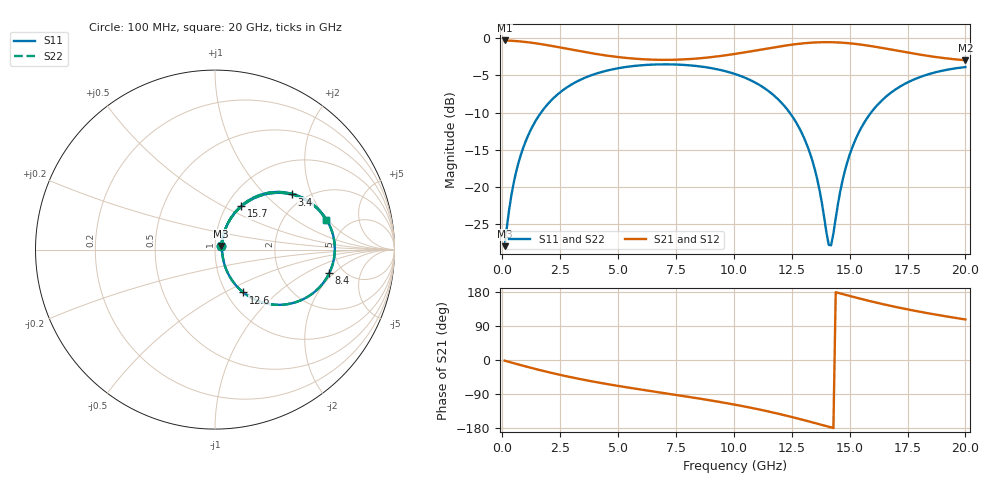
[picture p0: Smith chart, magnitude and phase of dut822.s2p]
! Touchstone file exported from HFSS 2026.1.0
!  File:  C:/ffzhzh/LocalFiles/Ansys_Project_Files/temp_train_TSV_RDL_822_1783265745_30076.aedt
!  Generated:  11:46:56 PM Jul  5, 2026
!  Design:  TSV_RDL
!  Project:  temp_train_TSV_RDL_822_1783265745_30076
! Variables:
!  h_bsmrdl = 4.45um
!  h_ox = 20um
!  h_rdl = 5um
!  h_sub = 71.24um
!  h_tmrdl = 3.67um
!  h_tsv = 71.24um
!  h_via = 3um
!  l_bsmrdl = 310.1um
!  l_sub = 4288.36um
!  l_tmrdl = 721.23um
!  m_sub = 200um
!  pitch = 44.39um
!  r_tsv = 3.7um
!  s_tmrdl = 10um
!  w_bsmrdl = 13.45um
!  w_sub = 500um
!  w_tmrdl = 10.93um
!  x_tsv_center1 = 726.695um
!  x_tsv_center2 = 1050.245um
!  x_tsv_center3 = 1782.405um
!  x_tsv_center4 = 2105.955um
!  x_tsv_center5 = 2838.115um
!  x_tsv_center6 = 3161.665um
# GHz S MA R 50.000000
! Terminal data exported
! Port[1] = TM_RDL1_1_T1
! Port[2] = TM_RDL5_1_T1
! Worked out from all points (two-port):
!   200 points, 100 MHz to 20 GHz, reference 50 ohm
!   highest |S21| = -0.30 dB at 100 MHz (marker M1); lowest = -3.0 dB at 20 GHz (marker M2)
!   |S21| within 3 dB of the highest: start of sweep to end of sweep
!   lowest |S11| = -27.9 dB at 100 MHz (marker M3), VSWR 1.08, Z = 53.6 + j2.14 ohm
!   |S11| at or under -10 dB: start of sweep to 1.672 GHz; 12.41 GHz to 15.92 GHz (3.513 GHz wide, 24.8 % of centre)
!   |S22| runs from -27.9 to -3.5 dB; largest |S21 - S12| = 1.6e-14
!   S11 on the Smith chart (normalised r, x): 100 MHz: 1.07, +0.04; 3.4 GHz: 1.72, +1.46; 8.4 GHz: 3.87, -1.76; 12.6 GHz: 1.20, -0.62; 15.7 GHz: 1.16, +0.61; 20 GHz: 3.42, +1.90
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0.1  0.0401 29.8  0.9656 -1.7  0.9656 -1.7  0.0401 29.8
! Gamma 0 0 0 0
! Port Impedance 50 0 50 0
0.5  0.1082 62.2  0.959 -8.6  0.959 -8.6  0.1082 62.2
1.1  0.2193 62.1  0.9394 -18.4  0.9394 -18.4  0.2193 62.1
2.1  0.3805 51.0  0.8894 -33.7  0.8894 -33.7  0.3805 51.0
3.4  0.528 35.6  0.8158 -50.8  0.8158 -50.8  0.528 35.6
3.5  0.5366 34.5  0.8105 -52.0  0.8105 -52.0  0.5366 34.5
5.1  0.6321 18.1  0.7439 -69.4  0.7439 -69.4  0.6322 18.1
6.8  0.6671 2.6  0.7157 -85.6  0.7157 -85.6  0.6671 2.6
8.4  0.65 -11.6  0.73 -100.7  0.73 -100.7  0.65 -11.6
10.1  0.5714 -28.2  0.7862 -118.5  0.7862 -118.5  0.5714 -28.2
11.5  0.4411 -43.9  0.8557 -135.9  0.8557 -135.9  0.4412 -43.9
12.6  0.2865 -56.5  0.9088 -151.9  0.9088 -151.9  0.2865 -56.5
13.4  0.1489 -61.3  0.9341 -164.6  0.9341 -164.6  0.1489 -61.4
13.7  0.09559 -57.0  0.9389 -169.6  0.9389 -169.6  0.09557 -57.1
14.1  0.04088 -12.3  0.9404 -176.2  0.9404 -176.2  0.04079 -12.4
14.2  0.04065 13.5  0.9399 -177.9  0.9399 -177.9  0.04053 13.4
14.8  0.1293 63.1  0.9299 172.3  0.9299 172.3  0.1292 63.1
15.2  0.1994 63.3  0.9172 165.9  0.9172 165.9  0.1993 63.3
15.7  0.2819 59.2  0.896 158.1  0.896 158.1  0.2818 59.2
16.7  0.4206 48.1  0.844 143.8  0.844 143.8  0.4206 48.1
18.1  0.5525 32.9  0.7728 126.5  0.7728 126.5  0.5524 32.9
20  0.6398 14.9  0.7115 106.9  0.7115 106.9  0.6397 14.9
